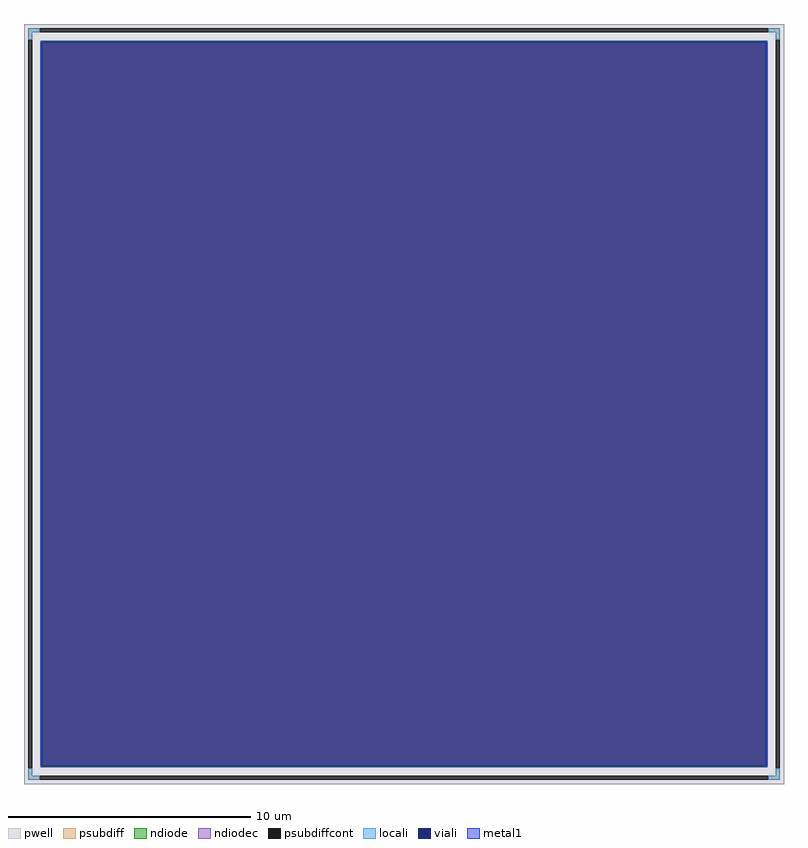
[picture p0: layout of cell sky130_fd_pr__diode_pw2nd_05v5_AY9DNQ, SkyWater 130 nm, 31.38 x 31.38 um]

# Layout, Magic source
magic
tech sky130B
<< pwell >>
rect -1569 -1569 1569 1569
<< psubdiff >>
rect -1551 1534 -1503 1551
rect 1503 1534 1551 1551
rect -1551 1503 -1534 1534
rect 1534 1503 1551 1534
rect -1551 -1534 -1534 -1503
rect 1534 -1534 1551 -1503
rect -1551 -1551 -1503 -1534
rect 1503 -1551 1551 -1534
<< psubdiffcont >>
rect -1503 1534 1503 1551
rect -1551 -1503 -1534 1503
rect 1534 -1503 1551 1503
rect -1503 -1551 1503 -1534
<< ndiode >>
rect -1500 1494 1500 1500
rect -1500 -1494 -1494 1494
rect 1494 -1494 1500 1494
rect -1500 -1500 1500 -1494
<< ndiodec >>
rect -1494 -1494 1494 1494
<< locali >>
rect -1551 1534 -1503 1551
rect 1503 1534 1551 1551
rect -1551 1503 -1534 1534
rect 1534 1503 1551 1534
rect -1502 -1494 -1494 1494
rect 1494 -1494 1502 1494
rect -1551 -1534 -1534 -1503
rect 1534 -1534 1551 -1503
rect -1551 -1551 -1503 -1534
rect 1503 -1551 1551 -1534
<< viali >>
rect -1494 -1494 1494 1494
<< metal1 >>
rect -1500 1494 1500 1497
rect -1500 -1494 -1494 1494
rect 1494 -1494 1500 1494
rect -1500 -1497 1500 -1494
<< properties >>
string FIXED_BBOX -1542 -1542 1542 1542
string gencell sky130_fd_pr__diode_pw2nd_05v5
string library sky130
string parameters w 30 l 30 area 900.0 peri 120.0 nx 1 ny 1 dummy 0 lmin 0.45 wmin 0.45 elc 1 erc 1 etc 1 ebc 1 doverlap 0 compatible {sky130_fd_pr__diode_pw2nd_05v5 sky130_fd_pr__diode_pw2nd_05v5_lvt  sky130_fd_pr__diode_pw2nd_05v5_nvt sky130_fd_pr__diode_pw2nd_11v0} full_metal 1 vias 1 viagb 0 viagt 0 viagl 0 viagr 0
<< end >>
